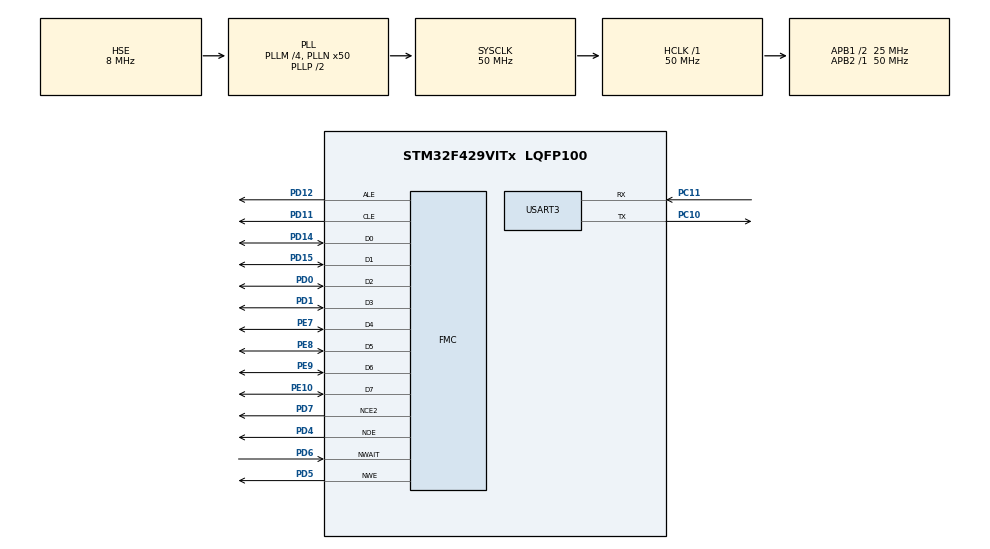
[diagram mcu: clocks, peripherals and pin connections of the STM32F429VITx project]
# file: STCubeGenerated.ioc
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FMC.AttributeSpaceHiZSetupTime1=2
FMC.AttributeSpaceHoldSetupTime1=50
FMC.AttributeSpaceSetupTime1=1
FMC.AttributeSpaceWaitSetupTime1=4
FMC.CommonSpaceHiZSetupTime1=1
FMC.CommonSpaceHoldSetupTime1=50
FMC.CommonSpaceSetupTime1=1
FMC.CommonSpaceWaitSetupTime1=4
FMC.ECCPageSize1=FMC_NAND_ECC_PAGE_SIZE_512BYTE
FMC.NandBlockNbr1=4096
FMC.NandBlockSize1=64
FMC.NandPageSize1=2048
FMC.NandPlaneNbr1=2
FMC.NandPlaneSize1=2048
FMC.NandSpareAreaSize1=64
FMC.TARSetupTime1=1
FMC.TCLRSetupTime1=1
Mcu.Family=STM32F4
Mcu.Name=STM32F429VITx
Mcu.Package=LQFP100
NVIC.PriorityGroup=NVIC_PRIORITYGROUP_4
NVIC.TIM8_TRG_COM_TIM14_IRQn=true\:15\:0\:false\:false\:true\:true\:true\:true
NVIC.TimeBase=TIM8_TRG_COM_TIM14_IRQn
NVIC.TimeBaseIP=TIM14
NVIC.USART3_IRQn=true\:0\:0\:false\:false\:true\:true\:true\:true
PA13.Mode=Trace_Asynchronous_SW
PA13.Signal=SYS_JTMS-SWDIO
PA14.Mode=Trace_Asynchronous_SW
PA14.Signal=SYS_JTCK-SWCLK
PB3.Mode=Trace_Asynchronous_SW
PB3.Signal=SYS_JTDO-SWO
PC10.Mode=Asynchronous
PC10.Signal=USART3_TX
PC11.Mode=Asynchronous
PC11.Signal=USART3_RX
PC14/OSC32_IN.Mode=LSE-External-Oscillator
PC14/OSC32_IN.Signal=RCC_OSC32_IN
PC15/OSC32_OUT.Mode=LSE-External-Oscillator
PC15/OSC32_OUT.Signal=RCC_OSC32_OUT
PD0.Mode=8b-dmux1
PD0.Signal=FMC_D2
PD1.Mode=8b-dmux1
PD1.Signal=FMC_D3
PD11.Mode=8b-dmux1
PD11.Signal=FMC_CLE
PD12.Mode=8b-dmux1
PD12.Signal=FMC_ALE
PD14.Mode=8b-dmux1
PD14.Signal=FMC_D0
PD15.Mode=8b-dmux1
PD15.Signal=FMC_D1
PD4.Mode=8b-dmux1
PD4.Signal=FMC_NOE
PD5.Mode=8b-dmux1
PD5.Signal=FMC_NWE
PD6.Mode=Wait1
PD6.Signal=FMC_NWAIT
PD7.Mode=NandChipSelect2_1
PD7.Signal=FMC_NCE2
PE10.Mode=8b-dmux1
PE10.Signal=FMC_D7
PE7.Mode=8b-dmux1
PE7.Signal=FMC_D4
PE8.Mode=8b-dmux1
PE8.Signal=FMC_D5
PE9.Mode=8b-dmux1
PE9.Signal=FMC_D6
PH0/OSC_IN.Mode=HSE-External-Oscillator
PH0/OSC_IN.Signal=RCC_OSC_IN
PH1/OSC_OUT.Mode=HSE-External-Oscillator
PH1/OSC_OUT.Signal=RCC_OSC_OUT
ProjectManager.HeapSize=0x200
ProjectManager.StackSize=0x400
ProjectManager.TargetToolchain=MDK-ARM V5
RCC.48MHZClocksFreq_Value=25000000
RCC.AHBFreq_Value=50000000
RCC.APB1CLKDivider=RCC_HCLK_DIV2
RCC.APB1Freq_Value=25000000
RCC.APB1TimFreq_Value=50000000
RCC.APB2Freq_Value=50000000
RCC.APB2TimFreq_Value=50000000
RCC.CortexFreq_Value=50000000
RCC.HCLKFreq_Value=50000000
RCC.HSE_VALUE=8000000
RCC.HSI_VALUE=16000000
RCC.PLLM=4
RCC.PLLN=50
RCC.PLLSourceVirtual=RCC_PLLSOURCE_HSE
RCC.SYSCLKFreq_VALUE=50000000
RCC.SYSCLKSource=RCC_SYSCLKSOURCE_PLLCLK
RCC.VCOOutputFreq_Value=100000000
USART3.VirtualMode=VM_ASYNC
VP_SYS_VS_tim14.Mode=TIM14
board=custom

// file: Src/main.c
/* USER CODE BEGIN Header */
/**
  ******************************************************************************
  * @file           : main.c
  * @brief          : Main program body
  ******************************************************************************
  * @attention
  *
  * Copyright (c) 2022 STMicroelectronics.
  * All rights reserved.
  *
  * This software is licensed under terms that can be found in the LICENSE file
  * in the root directory of this software component.
  * If no LICENSE file comes with this software, it is provided AS-IS.
  *
  ******************************************************************************
  */
/* USER CODE END Header */
#include "main.h"
#include "Communication.h"
#include "MainManager.h"
#include "DrvUART.h"
#include "boot_loader.h"
#include "Counters.h"
#include "DrvNand.h"
#include "FWU_GlobalDef.h"

/* USER CODE BEGIN PTD */
typedef StaticTask_t osStaticThreadDef_t;
/* USER CODE END PTD */

/* USER CODE BEGIN PD */
#define ITM_Port8(n)    (*((volatile unsigned char *)(0xE0000000+4*n)))
#define ITM_Port16(n)   (*((volatile unsigned short*)(0xE0000000+4*n)))
#define ITM_Port32(n)   (*((volatile unsigned long *)(0xE0000000+4*n)))

#define DEMCR           (*((volatile unsigned long *)(0xE000EDFC)))
#define TRCENA          0x01000000

#define APP_IMAGE_START_SECTOR FLASH_SECTOR_2
#define APP_IMAGE_SIZE_IN_SECTORS 8

#define DAT_FW_IMAGE_ADDR                0xFFA0000
#define DAT_FW_IMAGE_SIZE               (NVM_BLOCK_SIZE * 2)
#define DAT_NUM_OF_FW_IMAGES            (2)

//struct __FILE { int handle; /* Add whatever is needed */ };
//FILE __stdout;
/* USER CODE END PD */

/* USER CODE BEGIN PM */
#define SI_LED_PINOUT         GPIOB, GPIO_PIN_12
#define SI_LED_ON()           HAL_GPIO_WritePin( SI_LED_PINOUT, GPIO_PIN_RESET )
#define SI_LED_OFF()          HAL_GPIO_WritePin( SI_LED_PINOUT, GPIO_PIN_SET )
#define SI_LED_TOGGLE()       HAL_GPIO_TogglePin( SI_LED_PINOUT)
/* USER CODE END PM */

 UART_HandleTypeDef huart3;

NAND_HandleTypeDef hnand1;

/* USER CODE BEGIN PV */
BootParams_t g_siBootInfo = {
    APP_ADDRESS,
    APP_IMAGE_START_SECTOR,
    DAT_FW_IMAGE_ADDR,
    DAT_FW_IMAGE_SIZE,
    DAT_ReadBuffer,
    APP_IMAGE_SIZE_IN_SECTORS
};

/* Definitions for MainManagerTask */
osThreadId_t MainManagerTaskHandle;
uint32_t MainManagerTaskBuffer[ 256*8 ];
osStaticThreadDef_t MainManagerTaskControlBlock;
const osThreadAttr_t MainManagerTask_attributes = {
  .name = "MainManagerTask",
  .cb_mem = &MainManagerTaskControlBlock,
  .cb_size = sizeof(MainManagerTaskControlBlock),
  .stack_mem = &MainManagerTaskBuffer[0],
  .stack_size = sizeof(MainManagerTaskBuffer),
  .priority = (osPriority_t) osPriorityNormal,
};

/* USER CODE END PV */

void SystemClock_Config(void);
void InitRtosResources(void);
static void MX_GPIO_Init(void);
static void MX_FMC_Init(void);
static void MX_USART3_UART_Init(void);

int main(void)
{

  /* MCU Configuration--------------------------------------------------------*/

  /* Reset of all peripherals, Initializes the Flash interface and the Systick. */
  HAL_Init();

  /* Configure the system clock */
  SystemClock_Config();

  /* Initialize all configured peripherals */
  MX_GPIO_Init();
  //MX_FMC_Init();
  MX_USART3_UART_Init();
  /* USER CODE BEGIN 2 */
	SI_LED_ON();
	PRINTF("SI-boot ON temp\n");
  /* USER CODE END 2 */

	/* Init scheduler */
  osKernelInitialize();

	InitRtosResources();

	/* Start scheduler */
  osKernelStart();

	/* We should never get here as control is now taken by the scheduler */
  /* Infinite loop */
  /* USER CODE BEGIN WHILE */
  while (1)
  {
//		HAL_Delay(500);
//		printf("good\r\n");
//		printf("good1\r\n");
//		printf("good2\r\n");
//		printf("good3\r\n");
//		printf("good4\r\n");
//		printf("good5\r\n");
    /* USER CODE END WHILE */

    /* USER CODE BEGIN 3 */
  }

}

void SystemClock_Config(void)
{
  RCC_OscInitTypeDef RCC_OscInitStruct = {0};
  RCC_ClkInitTypeDef RCC_ClkInitStruct = {0};

  /** Configure the main internal regulator output voltage
  */
  __HAL_RCC_PWR_CLK_ENABLE();
  __HAL_PWR_VOLTAGESCALING_CONFIG(PWR_REGULATOR_VOLTAGE_SCALE3);

  /** Initializes the RCC Oscillators according to the specified parameters
  * in the RCC_OscInitTypeDef structure.
  */
  RCC_OscInitStruct.OscillatorType = RCC_OSCILLATORTYPE_HSE;
  RCC_OscInitStruct.HSEState = RCC_HSE_ON;
  RCC_OscInitStruct.PLL.PLLState = RCC_PLL_ON;
  RCC_OscInitStruct.PLL.PLLSource = RCC_PLLSOURCE_HSE;
  RCC_OscInitStruct.PLL.PLLM = 4;
  RCC_OscInitStruct.PLL.PLLN = 50;
  RCC_OscInitStruct.PLL.PLLP = RCC_PLLP_DIV2;
  RCC_OscInitStruct.PLL.PLLQ = 4;
  if (HAL_RCC_OscConfig(&RCC_OscInitStruct) != HAL_OK)
  {
    Error_Handler();
  }

  /** Initializes the CPU, AHB and APB buses clocks
  */
  RCC_ClkInitStruct.ClockType = RCC_CLOCKTYPE_HCLK|RCC_CLOCKTYPE_SYSCLK
                              |RCC_CLOCKTYPE_PCLK1|RCC_CLOCKTYPE_PCLK2;
  RCC_ClkInitStruct.SYSCLKSource = RCC_SYSCLKSOURCE_PLLCLK;
  RCC_ClkInitStruct.AHBCLKDivider = RCC_SYSCLK_DIV1;
  RCC_ClkInitStruct.APB1CLKDivider = RCC_HCLK_DIV2;
  RCC_ClkInitStruct.APB2CLKDivider = RCC_HCLK_DIV1;

  if (HAL_RCC_ClockConfig(&RCC_ClkInitStruct, FLASH_LATENCY_1) != HAL_OK)
  {
    Error_Handler();
  }
}

static void MX_USART3_UART_Init(void)
{

  huart3.Instance = USART3;
  huart3.Init.BaudRate = 115200;
  huart3.Init.WordLength = UART_WORDLENGTH_8B;
  huart3.Init.StopBits = UART_STOPBITS_1;
  huart3.Init.Parity = UART_PARITY_NONE;
  huart3.Init.Mode = UART_MODE_TX_RX;
  huart3.Init.HwFlowCtl = UART_HWCONTROL_NONE;
  huart3.Init.OverSampling = UART_OVERSAMPLING_16;
  if (HAL_UART_Init(&huart3) != HAL_OK)
  {
    Error_Handler();
  }

}

/* FMC initialization function */
static void MX_FMC_Init(void)
{

  FMC_NAND_PCC_TimingTypeDef ComSpaceTiming = {0};
  FMC_NAND_PCC_TimingTypeDef AttSpaceTiming = {0};

  /** Perform the NAND1 memory initialization sequence
  */
  hnand1.Instance = FMC_NAND_DEVICE;
  /* hnand1.Init */
  hnand1.Init.NandBank = FMC_NAND_BANK2;
  hnand1.Init.Waitfeature = FMC_NAND_PCC_WAIT_FEATURE_DISABLE;
  hnand1.Init.MemoryDataWidth = FMC_NAND_PCC_MEM_BUS_WIDTH_8;
  hnand1.Init.EccComputation = FMC_NAND_ECC_DISABLE;
  hnand1.Init.ECCPageSize = FMC_NAND_ECC_PAGE_SIZE_512BYTE;
  hnand1.Init.TCLRSetupTime = 1;
  hnand1.Init.TARSetupTime = 1;
  /* hnand1.Config */
  hnand1.Config.PageSize = 2048;
  hnand1.Config.SpareAreaSize = 64;
  hnand1.Config.BlockSize = 64;
  hnand1.Config.BlockNbr = 4096;
  hnand1.Config.PlaneNbr = 2;
  hnand1.Config.PlaneSize = 2048;
  hnand1.Config.ExtraCommandEnable = DISABLE;
  /* ComSpaceTiming */
  ComSpaceTiming.SetupTime = 1;
  ComSpaceTiming.WaitSetupTime = 4;
  ComSpaceTiming.HoldSetupTime = 50;
  ComSpaceTiming.HiZSetupTime = 1;
  /* AttSpaceTiming */
  AttSpaceTiming.SetupTime = 1;
  AttSpaceTiming.WaitSetupTime = 4;
  AttSpaceTiming.HoldSetupTime = 50;
  AttSpaceTiming.HiZSetupTime = 2;

  if (HAL_NAND_Init(&hnand1, &ComSpaceTiming, &AttSpaceTiming) != HAL_OK)
  {
    Error_Handler( );
  }

}

static void MX_GPIO_Init(void)
{

  /* GPIO Ports Clock Enable */
  __HAL_RCC_GPIOC_CLK_ENABLE();
  __HAL_RCC_GPIOH_CLK_ENABLE();
  __HAL_RCC_GPIOE_CLK_ENABLE();
  __HAL_RCC_GPIOD_CLK_ENABLE();
  __HAL_RCC_GPIOA_CLK_ENABLE();
  __HAL_RCC_GPIOB_CLK_ENABLE();

}

/* USER CODE BEGIN 4 */

void InitRtosResources(void)
{
	//-------------------------------------------------------------------//
	// 															Threads
	//-------------------------------------------------------------------//
		MainManagerTaskHandle = osThreadNew(MainManagerTask, NULL, &MainManagerTask_attributes);
}

// function for debug printf
int fputc(int ch, FILE *f)
{
    if (DEMCR & TRCENA)
    {
        while (ITM_Port32(0) == 0)
        {
        }
        ITM_Port8(0) = (unsigned char)ch;
    }
    (void)f;
    return(ch);
}

void HAL_SYSTICK_Callback(void)
{
    CNT_MsInterruptHandler();
}
/* USER CODE END 4 */

void HAL_TIM_PeriodElapsedCallback(TIM_HandleTypeDef *htim)
{
  if (htim->Instance == TIM14) {
    HAL_IncTick();
  }
}

void Error_Handler(void)
{
  __disable_irq();
  while (1)
  {
  }
}
